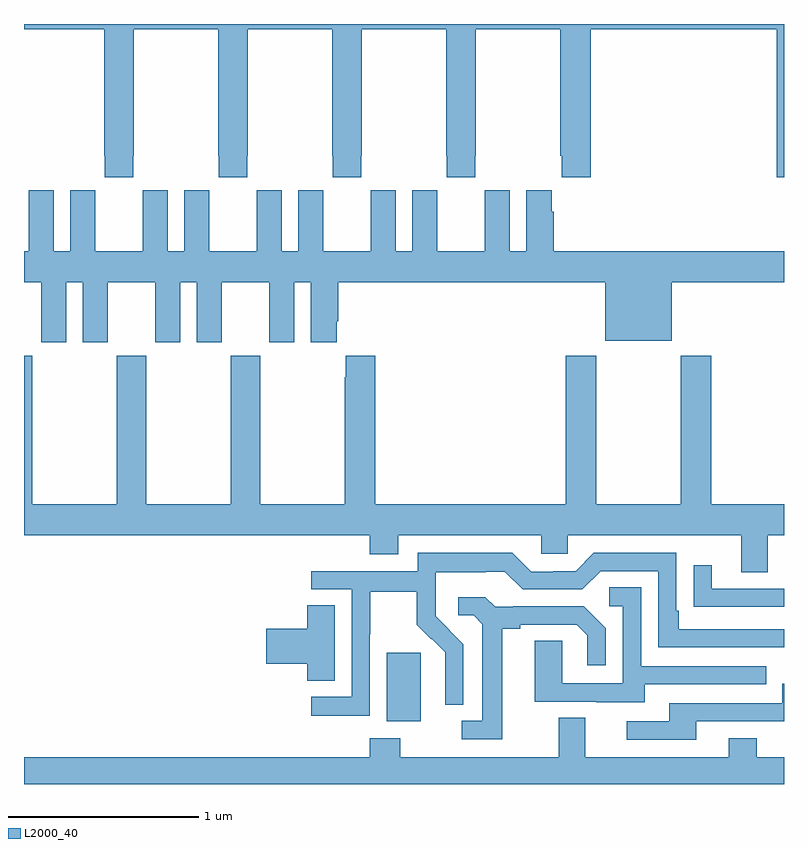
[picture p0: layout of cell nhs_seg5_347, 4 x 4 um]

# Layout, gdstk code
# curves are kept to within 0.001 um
import gdstk
lib = gdstk.Library(unit=1e-6, precision=1e-09)
def R(c, l, rs):  # rectangles x0, y0, x1, y1
    for r in rs: c.add(gdstk.rectangle(r[:2], r[2:], *l))
def P(c, l, *ps):  # polygons
    for p in ps: c.add(gdstk.Polygon(p, *l))
L2000_40 = (2000, 40)

nhs_seg5_347 = lib.new_cell('nhs_seg5_347')
R(nhs_seg5_347, L2000_40, [(134.909,841.13,135.088,841.491)])
P(nhs_seg5_347, L2000_40, [(133.575,844.105),(133.578,844.105),(133.578,844.772),(134.023,844.772),(134.023,844.105),(134.025,844.105),(134.025,843.993),(134.175,843.993),(134.175,844.105),(134.178,844.105),(134.178,844.772),(134.623,844.772),(134.623,844.105),(134.625,844.105),(134.625,843.993),(134.775,843.993),(134.775,844.105),(134.778,844.105),(134.778,844.772),(135.223,844.772),(135.223,844.105),(135.225,844.105),(135.225,843.993),(135.375,843.993),(135.375,844.105),(135.378,844.105),(135.378,844.772),(135.823,844.772),(135.823,844.105),(135.829,844.105),(135.829,843.993),(135.983,843.993),(135.983,844.772),(136.961,844.772),(136.961,843.993),(137,843.993),(137,844.799),(133,844.799),(133,844.772),(133.423,844.772),(133.423,844.105),(133.425,844.105),(133.425,843.993),(133.575,843.993)],
  [(133.844,843.925),(133.844,843.604),(133.756,843.604),(133.756,843.925),(133.626,843.925),(133.626,843.812),(133.625,843.812),(133.625,843.604),(133.375,843.604),(133.375,843.812),(133.374,843.812),(133.374,843.925),(133.244,843.925),(133.244,843.604),(133.156,843.604),(133.156,843.925),(133.026,843.925),(133.026,843.812),(133.025,843.812),(133.025,843.604),(133,843.604),(133,843.44),(133.091,843.44),(133.091,843.123),(133.222,843.123),(133.222,843.44),(133.31,843.44),(133.31,843.123),(133.441,843.123),(133.441,843.44),(133.691,843.44),(133.691,843.123),(133.822,843.123),(133.822,843.44),(133.91,843.44),(133.91,843.123),(134.041,843.123),(134.041,843.44),(134.291,843.44),(134.291,843.123),(134.422,843.123),(134.422,843.44),(134.51,843.44),(134.51,843.123),(134.647,843.123),(134.647,843.235),(134.654,843.235),(134.654,843.44),(136.058,843.44),(136.058,843.131),(136.408,843.131),(136.408,843.44),(137,843.44),(137,843.604),(135.788,843.604),(135.788,843.812),(135.778,843.812),(135.778,843.925),(135.644,843.925),(135.644,843.604),(135.556,843.604),(135.556,843.925),(135.426,843.925),(135.426,843.812),(135.425,843.812),(135.425,843.604),(135.175,843.604),(135.175,843.812),(135.174,843.812),(135.174,843.925),(135.044,843.925),(135.044,843.604),(134.956,843.604),(134.956,843.925),(134.826,843.925),(134.826,843.812),(134.825,843.812),(134.825,843.604),(134.575,843.604),(134.575,843.812),(134.574,843.812),(134.574,843.925),(134.444,843.925),(134.444,843.604),(134.356,843.604),(134.356,843.925),(134.226,843.925),(134.226,843.812),(134.225,843.812),(134.225,843.604),(133.975,843.604),(133.975,843.812),(133.974,843.812),(133.974,843.925)],
  [(136.915,842.108),(137,842.108),(137,842.272),(136.616,842.272),(136.616,843.052),(136.456,843.052),(136.456,842.272),(136.011,842.272),(136.011,843.052),(135.851,843.052),(135.851,842.272),(134.849,842.272),(134.849,843.052),(134.693,843.052),(134.693,842.939),(134.689,842.939),(134.689,842.272),(134.244,842.272),(134.244,843.052),(134.089,843.052),(134.089,842.272),(133.644,842.272),(133.644,843.052),(133.489,843.052),(133.489,842.272),(133.044,842.272),(133.044,843.052),(133,843.052),(133,842.108),(134.819,842.108),(134.819,842.009),(134.971,842.009),(134.971,842.108),(135.723,842.108),(135.723,842.01),(135.861,842.01),(135.861,842.108),(136.775,842.108),(136.775,841.914),(136.915,841.914)],
  [(134.82,841.588),(134.823,841.588),(134.823,841.812),(135.067,841.812),(135.067,841.637),(135.144,841.56),(135.147,841.563),(135.218,841.493),(135.218,841.37),(135.216,841.37),(135.216,841.216),(135.312,841.216),(135.312,841.534),(135.166,841.682),(135.166,841.779),(135.168,841.779),(135.168,841.913),(135.431,841.913),(135.431,841.917),(135.531,841.917),(135.624,841.824),(135.939,841.824),(136.035,841.92),(136.338,841.92),(136.338,841.518),(137,841.518),(137,841.614),(136.447,841.614),(136.447,841.711),(136.434,841.711),(136.434,842.016),(135.999,842.016),(135.903,841.92),(135.785,841.92),(135.785,841.917),(135.669,841.917),(135.569,842.017),(135.072,842.017),(135.072,841.92),(134.511,841.92),(134.511,841.824),(134.724,841.824),(134.724,841.257),(134.511,841.257),(134.511,841.159),(134.82,841.159)],
  [(137,841.827),(136.621,841.827),(136.621,841.951),(136.525,841.951),(136.525,841.732),(136.627,841.732),(136.627,841.731),(137,841.731)],
  [(136.267,841.323),(136.907,841.323),(136.907,841.419),(136.248,841.419),(136.248,841.835),(136.08,841.835),(136.08,841.734),(136.152,841.734),(136.152,841.329),(135.834,841.329),(135.834,841.553),(135.689,841.553),(135.689,841.233),(136.013,841.233),(136.013,841.229),(136.267,841.229)],
  [(135.517,841.616),(135.613,841.616),(135.613,841.638),(135.908,841.638),(135.965,841.581),(135.965,841.425),(136.062,841.425),(136.062,841.618),(135.946,841.734),(135.574,841.734),(135.574,841.731),(135.48,841.731),(135.428,841.783),(135.285,841.783),(135.285,841.686),(135.366,841.686),(135.413,841.639),(135.413,841.131),(135.303,841.131),(135.303,841.035),(135.517,841.035)],
  [(134.635,841.739),(134.492,841.739),(134.492,841.616),(134.274,841.616),(134.274,841.433),(134.492,841.433),(134.492,841.342),(134.635,841.342)],
  [(136.537,841.128),(137,841.128),(137,841.327),(136.992,841.327),(136.992,841.224),(136.397,841.224),(136.397,841.128),(136.173,841.128),(136.173,841.032),(136.537,841.032)],
  [(137,840.94),(136.857,840.94),(136.857,841.039),(136.709,841.039),(136.709,840.94),(135.955,840.94),(135.955,841.148),(135.815,841.148),(135.815,840.94),(134.979,840.94),(134.979,841.039),(134.819,841.039),(134.819,840.94),(133,840.94),(133,840.799),(137,840.799)])

lib.write_gds('nhs_seg5_347.gds')
